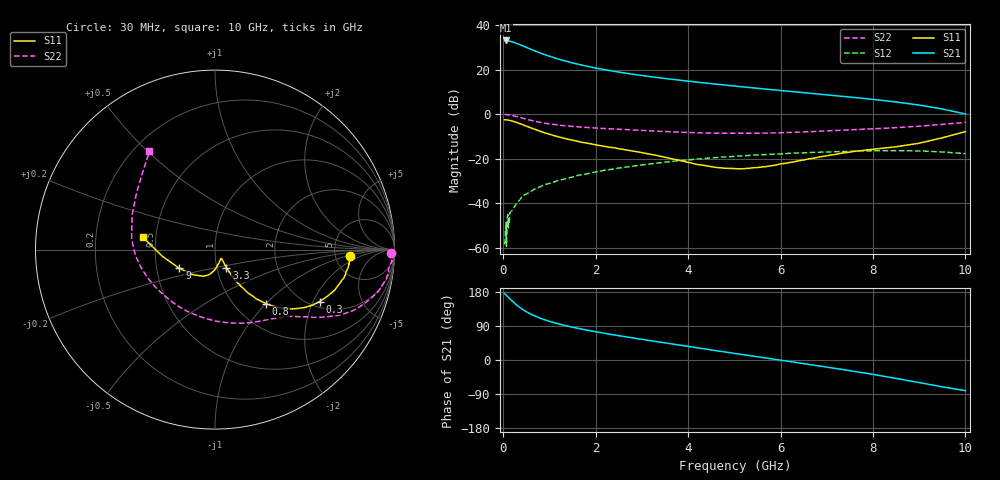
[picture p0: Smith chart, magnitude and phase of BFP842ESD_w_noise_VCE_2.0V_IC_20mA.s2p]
! Infineon Technologies  Discrete & RF Semiconductors
! BFP842ESD
! VCE =  2.0 V,  IC =  20 mA
! Common Emitter S-Parameters:  May 2012
# GHz  S  MA  R  50
!  f  S11  S21  S12  S22
! GHz  MAG  ANG  MAG  ANG  MAG  ANG  MAG  ANG
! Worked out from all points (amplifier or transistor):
!   99 points, 30 MHz to 10 GHz, reference 50 ohm
!   highest |S21| = 33.1 dB at 60 MHz (marker M1)
!   |S21| within 3 dB of that: start of sweep to 489.2 MHz
!   unconditionally stable (mu >= 1): 2.25 GHz to end of sweep
!   at 350 MHz: K = 0.44, MSG = 35.0 dB, |S12| = -38.6 dB
!   at 3.5 GHz: K = 1.07, MAG = 17.2 dB, |S12| = -21.5 dB
!   at 10 GHz: K = 1.81, MAG = 3.7 dB, |S12| = -17.6 dB
!   lowest NFmin = 0.81 dB at 450 MHz
!   S11 on the Smith chart (normalised r, x): 30 MHz: 6.90, -1.13; 300 MHz: 2.24, -2.25; 800 MHz: 1.38, -1.00; 3.3 GHz: 1.11, -0.23; 9 GHz: 0.66, -0.14; 10 GHz: 0.42, +0.07
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0.03  0.7526 -2.7  45.19 175.8  0.0012 128.6  0.9781 -1.0
0.06  0.7523 -6.2  45.32 171.7  0.0037 80.1  0.9903 -3.7
0.07  0.7507 -6.2  44.74 170.7  0.0011 157.8  0.9867 -4.0
0.09  0.7456 -8.5  44.05 168.3  0.005 46.7  0.9749 -5.8
0.11  0.7398 -10.9  44.47 165.4  0.0028 104.4  0.9799 -7.7
0.2  0.7039 -18.7  41.92 155.0  0.0071 76.1  0.9404 -14.2
0.3  0.6507 -26.4  38.57 144.1  0.0103 74.1  0.8846 -19.9
0.4  0.595 -32.8  35.05 135.0  0.0137 68.2  0.8294 -24.7
0.5  0.5431 -37.5  31.75 127.4  0.0162 70.0  0.7776 -28.1
0.6  0.4949 -41.2  28.65 120.9  0.0187 68.8  0.7315 -30.7
0.8  0.4155 -46.6  23.72 110.3  0.0238 67.5  0.661 -34.8
1  0.3569 -50.1  20.07 102.0  0.0282 64.2  0.6094 -37.9
1.2  0.311 -52.3  17.26 95.2  0.0333 62.4  0.5728 -40.5
1.7  0.2352 -55.0  12.7 81.6  0.0441 58.3  0.5145 -47.4
2.4  0.1777 -57.4  9.18 66.2  0.0594 50.8  0.4676 -58.9
3.3  0.1206 -58.2  6.742 48.9  0.0791 40.6  0.4198 -77.0
3.4  0.1145 -57.8  6.55 47.1  0.0822 39.6  0.4142 -79.4
5.1  0.0597 -56.0  4.204 15.8  0.1161 16.1  0.3753 -122.6
6.7  0.1031 -87.1  2.922 -13.2  0.1396 -7.0  0.4096 -159.3
8.5  0.1868 -131.8  1.889 -48.6  0.1531 -38.2  0.5012 157.0
9  0.2243 -152.2  1.61 -59.6  0.151 -48.3  0.5401 143.9
10  0.4088 170.1  1.016 -80.8  0.1311 -69.9  0.6579 123.7
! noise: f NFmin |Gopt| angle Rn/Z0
0.45  0.81  0.05  -152  0.09
0.9  0.81  0.07  -145  0.09
1.5  0.82  0.09  -141  0.08
1.9  0.82  0.11  -135  0.08
2.4  0.83  0.13  -132  0.08
3.5  0.88  0.16  -118  0.09
4  0.91  0.17  -115  0.1
5  0.98  0.18  -104  0.11
5.5  1.09  0.19  -101  0.12
6  1.19  0.2  -98  0.13
